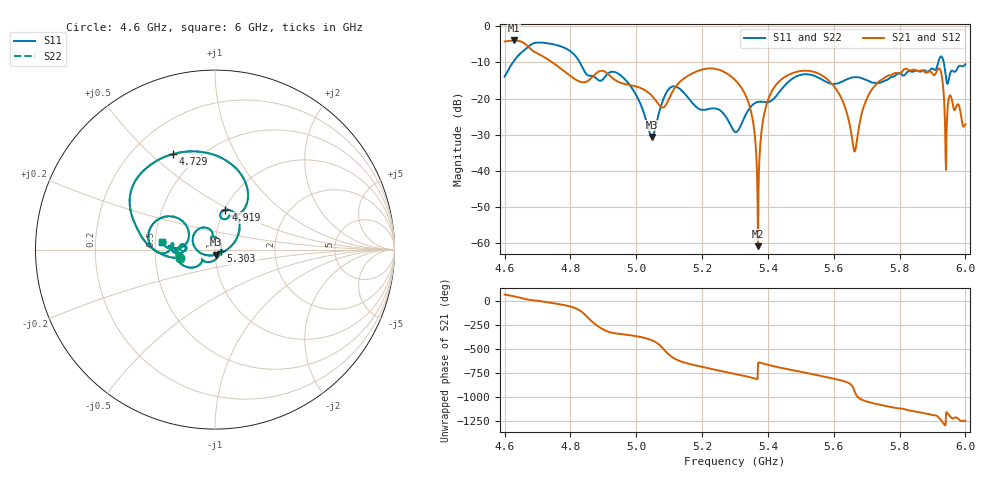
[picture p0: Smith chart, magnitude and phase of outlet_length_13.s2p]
! TOUCHSTONE file generated by CST MICROWAVE STUDIO
! Date and time: Mon Dec  2 04:50:25 2024
! Project name: test_tuning.cst
! Parameters = {airCoaxOuterDiameter=3; chamferAngle=45; chamferWidth=24; connectorLength=10; drillingHoleDiameter=4.1; feedLength=60; flareDiameter=130; flareLength=70; gratingDistance=0; gratingGap=1.90274; outletLength=100; polarizerLength=134; probe1Diameter=1.3; probe1Distance=14; probe1Length=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
! Header version: 2024
! Port assignment regex: !\s*Touchstone port\s*([0-9]+)\s*=\s*(CST MWS port|CST DES external port|CST DES block port)\s*(.+)\s* \(\"(.*)\"\)(\s*mode\s*([0-9]+))?.*
! Touchstone port assignment:
! Touchstone port 1 = CST MWS port 1 ("Input1")
! Touchstone port 2 = CST MWS port 2 ("Input2")
# GHz S MA R 50
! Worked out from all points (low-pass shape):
!   1001 points, 4.6 GHz to 6 GHz, reference 50 ohm
!   highest |S21| = -3.95 dB at 4.629 GHz (marker M1); lowest = -60.8 dB at 5.37 GHz (marker M2)
!   |S21| within 3 dB of the highest: start of sweep to 4.688 GHz
!   lowest |S11| = -30.6 dB at 5.048 GHz (marker M3), VSWR 1.06, Z = 50.5 - j2.93 ohm
!   |S11| at or under -10 dB: start of sweep to 4.625 GHz; 4.828 GHz to 5.917 GHz (1.089 GHz wide, 20.3 % of centre); 5.934 GHz to end of sweep
!   |S22| runs from -30.6 to -4.5 dB; largest |S21 - S12| = 6.6e-07
!   S11 on the Smith chart (normalised r, x): 4.6 GHz: 0.67, -0.07; 4.729 GHz: 0.37, +0.59; 4.919 GHz: 1.01, +0.47; 5.303 GHz: 1.07, -0.02; 6 GHz: 0.54, +0.05
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4.6  0.2009 -166.6  0.6141 63.2  0.6141 63.2  0.2009 -166.6
4.6294  0.3351 -179.3  0.6343 44.1  0.6343 44.1  0.3351 -179.3
4.7288  0.5811 113.6  0.3536 -16.4  0.3536 -16.4  0.5811 113.6
4.8338  0.2841 54.3  0.1687 -115.4  0.1687 -115.4  0.2841 54.3
4.9192  0.2297 75.3  0.2085 32.2  0.2085 32.2  0.2297 75.3
5.048  0.02955 -78.6  0.1084 -53.2  0.1084 -53.2  0.02955 -78.6
5.0676  0.05996 -149.9  0.08362 -91.8  0.08362 -91.8  0.05996 -149.9
5.1194  0.1464 128.6  0.1452 112.0  0.1452 112.0  0.1464 128.6
5.3  0.03466 -2.9  0.1807 -41.9  0.1807 -41.9  0.03466 -2.9
5.3028  0.0344 -13.1  0.1755 -43.9  0.1755 -43.9  0.0344 -13.1
5.3476  0.07659 -115.4  0.06921 -77.9  0.06921 -77.9  0.07659 -115.4
5.37  0.08996 -136.7  0.0009158 67.8  0.0009158 67.8  0.08996 -136.7
5.412  0.09459 -139.5  0.1263 43.0  0.1263 43.0  0.09459 -139.5
5.5338  0.2114 -179.4  0.2371 -43.2  0.2371 -43.2  0.2114 -179.4
5.6164  0.1642 -178.5  0.1157 -104.0  0.1157 -104.0  0.1642 -178.5
5.664  0.197 176.7  0.01859 133.6  0.01859 133.6  0.197 176.7
5.7046  0.1761 170.6  0.109 27.5  0.109 27.5  0.1761 170.6
5.7676  0.1882 -174.2  0.2083 -22.3  0.2083 -22.3  0.1882 -174.2
5.9202  0.3465 179.3  0.2604 -137.3  0.2604 -137.3  0.3465 179.3
5.9412  0.1929 142.0  0.01039 -92.7  0.01039 -92.7  0.1929 142.0
5.9552  0.2331 176.8  0.1092 -129.4  0.1092 -129.4  0.2331 176.8
6  0.2982 172.3  0.04411 -173.1  0.04411 -173.1  0.2982 172.3
